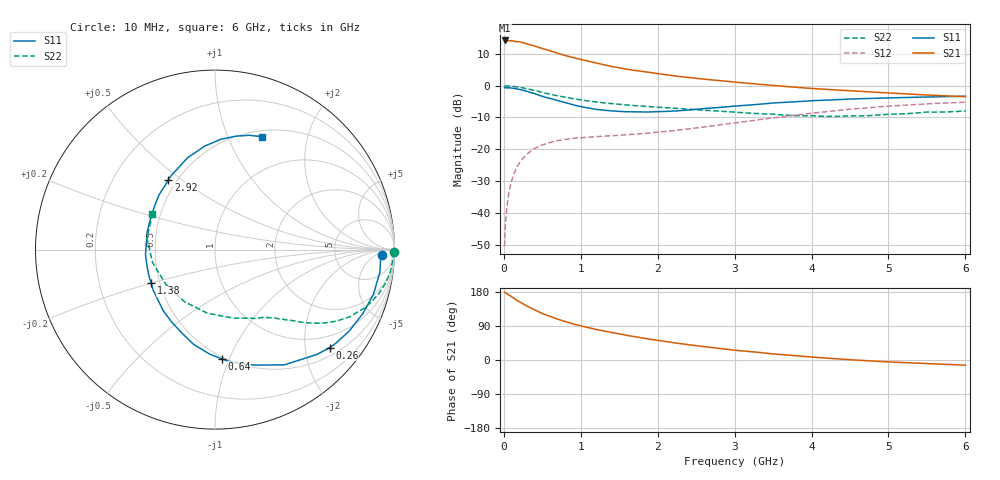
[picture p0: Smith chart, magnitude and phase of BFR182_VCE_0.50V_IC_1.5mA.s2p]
! (c) 2015  Infineon Technologies AG, Munich
! Infineon Technologies  Discrete & RF Semiconductors
! BFR182
! VCE = 0.50 V,  IC =  1.5 mA
! Common Emitter S-Parameters:  Nov 2015
# GHz  S  MA  R  50
!  f  S11  S21  S12  S22
! GHz  MAG  ANG  MAG  ANG  MAG  ANG  MAG  ANG
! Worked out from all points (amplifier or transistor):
!   210 points, 10 MHz to 6 GHz, reference 50 ohm
!   highest |S21| = 14.2 dB at 10 MHz (marker M1)
!   |S21| within 3 dB of that: start of sweep to 564.4 MHz
!   unconditionally stable (mu >= 1): 1.483 GHz to 3.891 GHz; 5.921 GHz to end of sweep
!   at 185 MHz: K = 0.16, MSG = 19.4 dB, |S12| = -25.0 dB
!   at 1.52 GHz: K = 1.02, MAG = 9.8 dB, |S12| = -15.6 dB
!   at 6 GHz: K = 1.00, MAG = 0.6 dB, |S12| = -5.2 dB
!   S11 on the Smith chart (normalised r, x): 10 MHz: 23, -10; 260 MHz: 0.68, -2.55; 640 MHz: 0.48, -0.94; 1.38 GHz: 0.45, -0.20; 2.92 GHz: 0.45, +0.45; 6 GHz: 0.57, +1.33
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0.01  0.9303 -1.9  5.127 178.9  0.003 88.3  0.995 -0.8
0.02  0.9241 -3.0  5.023 177.3  0.0061 89.0  0.9888 -1.6
0.035  0.9249 -5.4  5.053 175.4  0.0108 86.4  0.9895 -2.8
0.08  0.9191 -12.6  5.084 169.7  0.0251 81.6  0.9861 -6.2
0.1  0.9172 -15.8  5.093 167.2  0.0315 80.4  0.984 -7.8
0.15  0.8972 -23.5  4.925 160.0  0.0467 75.2  0.9654 -11.6
0.2  0.8747 -31.3  4.89 154.0  0.0601 71.3  0.945 -15.0
0.26  0.8408 -40.5  4.701 146.6  0.0749 66.1  0.9142 -19.0
0.4  0.7497 -58.9  4.202 132.5  0.103 57.0  0.8413 -26.3
0.5  0.679 -71.4  3.839 122.6  0.1172 51.5  0.7841 -30.6
0.64  0.6095 -86.5  3.404 112.1  0.1316 45.9  0.7163 -34.9
0.8  0.5415 -102.7  2.964 101.3  0.1433 41.2  0.6566 -38.4
1.02  0.464 -122.9  2.544 89.2  0.1524 37.8  0.5915 -42.1
1.2  0.4237 -138.6  2.268 80.5  0.1579 36.2  0.5533 -45.0
1.38  0.4028 -152.3  2.025 73.4  0.1625 36.1  0.5242 -47.4
1.7  0.3881 -176.2  1.738 61.4  0.172 37.5  0.4856 -51.3
2.02  0.3908 164.1  1.529 51.2  0.1871 40.0  0.4568 -56.2
2.92  0.467 123.8  1.162 27.8  0.2518 43.9  0.389 -76.8
3.1  0.4857 118.1  1.108 24.1  0.2691 43.5  0.3754 -82.5
4.1  0.5851 94.0  0.887 6.3  0.3796 36.8  0.3314 -125.2
5.1  0.6461 78.4  0.756 -5.9  0.4843 24.4  0.3569 -172.8
6  0.6807 67.6  0.671 -13.6  0.548 10.9  0.3999 150.7
